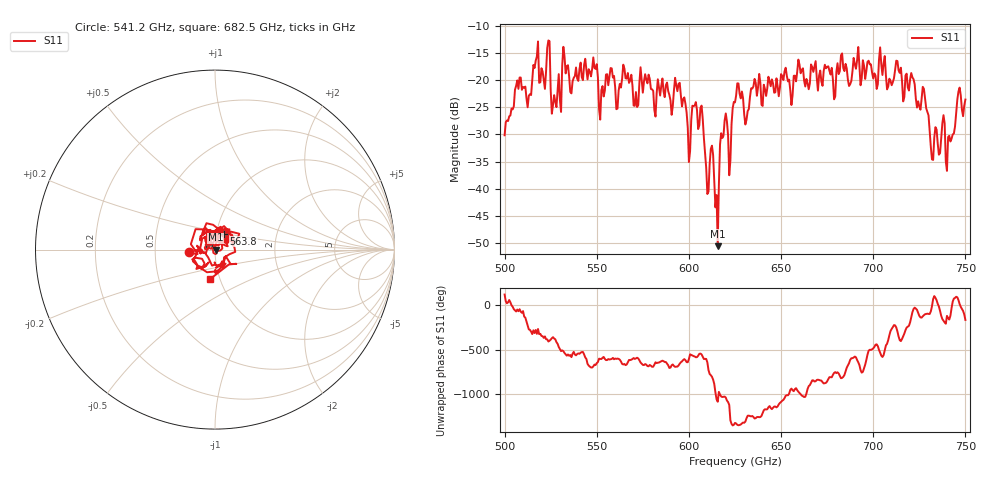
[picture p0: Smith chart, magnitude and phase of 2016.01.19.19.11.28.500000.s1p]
!Created with skrf (http://scikit-rf.org).
# GHz S RI R 50.0
!freq ReS11 ImS11
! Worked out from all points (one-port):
!   401 points, 500 GHz to 750 GHz, reference 50 ohm
!   lowest |S11| = -50.6 dB at 615.6 GHz (marker M1), VSWR 1.01, Z = 50.3 - j0.0234 ohm
!   |S11| at or under -10 dB: start of sweep to end of sweep
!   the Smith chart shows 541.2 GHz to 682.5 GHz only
!   S11 on the Smith chart (normalised r, x): 541.2 GHz: 0.75, -0.02; 563.8 GHz: 1.09, +0.20; 682.5 GHz: 0.89, -0.31
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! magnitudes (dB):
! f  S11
! 500 GHz  -30.2
! 507.5 GHz  -21.6
! 513.1 GHz  -22.9
! 516.9 GHz  -16.4
! 523.8 GHz  -12.7
! 526.9 GHz  -22.8
! 531.2 GHz  -17.3
! 541.2 GHz  -16.8
! 562.5 GHz  -20.7
! 563.8 GHz  -19.8
! 571.2 GHz  -22.2
! 593.8 GHz  -22.0
! 600 GHz  -35.1
! 606.9 GHz  -24.7
! 609.4 GHz  -36.2
! 612.5 GHz  -32.1
! 615.6 GHz  -50.6
! 618.1 GHz  -30.7
! 622.5 GHz  -34.8
! 625 GHz  -24.1
! 656.2 GHz  -22.8
! 682.5 GHz  -15.4
! 687.5 GHz  -20.7
! 718.8 GHz  -21.4
! 728.1 GHz  -23.5
! 731.9 GHz  -34.6
! 740.6 GHz  -30.5
! 750 GHz  -23.6
